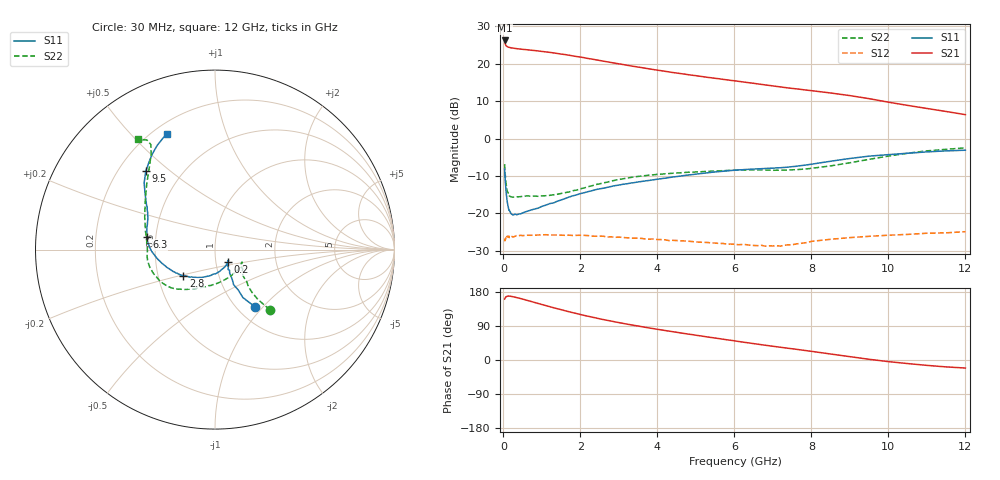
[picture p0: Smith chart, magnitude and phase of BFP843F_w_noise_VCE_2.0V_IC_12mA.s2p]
! Infineon Technologies  Discrete & RF Semiconductors
! BFP843F
! VCE =  2.0 V,  IC =  12 mA
! Common Emitter S-Parameters:  Aug 2013
# GHz  S  MA  R  50
!  f  S11  S21  S12  S22
! GHz  MAG  ANG  MAG  ANG  MAG  ANG  MAG  ANG
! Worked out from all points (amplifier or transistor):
!   103 points, 30 MHz to 12 GHz, reference 50 ohm
!   highest |S21| = 26.2 dB at 30 MHz (marker M1)
!   |S21| within 3 dB of that: start of sweep to 1.052 GHz
!   unconditionally stable (mu >= 1): 144.5 MHz to end of sweep
!   at 400 MHz: K = 1.01, MAG = 24.3 dB, |S12| = -26.0 dB
!   at 3.7 GHz: K = 1.17, MAG = 20.3 dB, |S12| = -26.9 dB
!   at 12 GHz: K = 1.28, MAG = 12.5 dB, |S12| = -24.9 dB
!   lowest NFmin = 0.81 dB at 450 MHz
!   S11 on the Smith chart (normalised r, x): 30 MHz: 1.20, -0.91; 200 MHz: 1.14, -0.16; 2.8 GHz: 0.67, -0.21; 6.3 GHz: 0.45, +0.07; 9.5 GHz: 0.31, +0.41; 12 GHz: 0.25, +0.64
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0.03  0.3905 -55.0  20.5 160.8  0.0422 29.6  0.4544 -47.6
0.04  0.3095 -59.8  19.08 162.1  0.0453 20.8  0.3665 -49.3
0.05  0.2581 -60.1  18.18 165.0  0.0444 16.6  0.3134 -49.1
0.08  0.1715 -59.1  17.21 167.5  0.0462 13.6  0.2276 -44.2
0.13  0.1181 -52.1  16.66 168.7  0.0482 8.3  0.1774 -33.7
0.2  0.0988 -43.2  16.32 167.9  0.0497 5.7  0.1658 -27.1
0.8  0.114 -66.2  15.04 152.1  0.051 0.7  0.1703 -45.8
1.2  0.135 -88.7  14.2 140.8  0.0513 -1.3  0.174 -67.5
1.6  0.1577 -108.1  13.28 130.0  0.0508 -2.4  0.1892 -87.2
2.1  0.189 -125.5  12.04 117.6  0.0508 -4.3  0.2188 -107.7
2.5  0.2129 -135.1  11.06 108.7  0.0496 -5.0  0.2481 -118.9
2.8  0.2287 -140.6  10.39 102.7  0.0485 -5.8  0.2705 -124.9
3.4  0.2576 -150.9  9.203 91.3  0.0466 -6.7  0.3076 -134.6
4.1  0.2911 -161.7  8.078 79.4  0.0446 -6.2  0.3338 -143.0
5  0.3346 -173.7  6.931 65.4  0.0415 -4.1  0.3577 -153.4
6.1  0.3808 172.4  5.831 49.0  0.0381 0.0  0.3774 -167.0
6.3  0.3861 169.5  5.647 46.1  0.0382 1.6  0.3783 -169.7
7  0.402 159.6  5.061 36.2  0.0366 8.2  0.3764 -178.8
8.5  0.4974 141.5  4.067 15.8  0.045 18.2  0.4311 155.3
9.5  0.5823 131.5  3.415 1.9  0.0493 18.0  0.5273 136.2
10.5  0.6361 123.4  2.776 -9.4  0.0523 18.6  0.6367 124.0
12  0.6985 112.5  2.087 -21.2  0.0569 20.4  0.7509 125.0
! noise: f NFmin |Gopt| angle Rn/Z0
0.45  0.81  0.02  23  0.02
0.9  0.82  0.03  51  0.02
1.5  0.85  0.03  71  0.03
1.9  0.9  0.04  97  0.04
2.4  0.94  0.05  115  0.05
3.5  0.99  0.08  142  0.11
5.5  1.1  0.16  -167  0.19
10  1.65  0.36  -112  0.29
